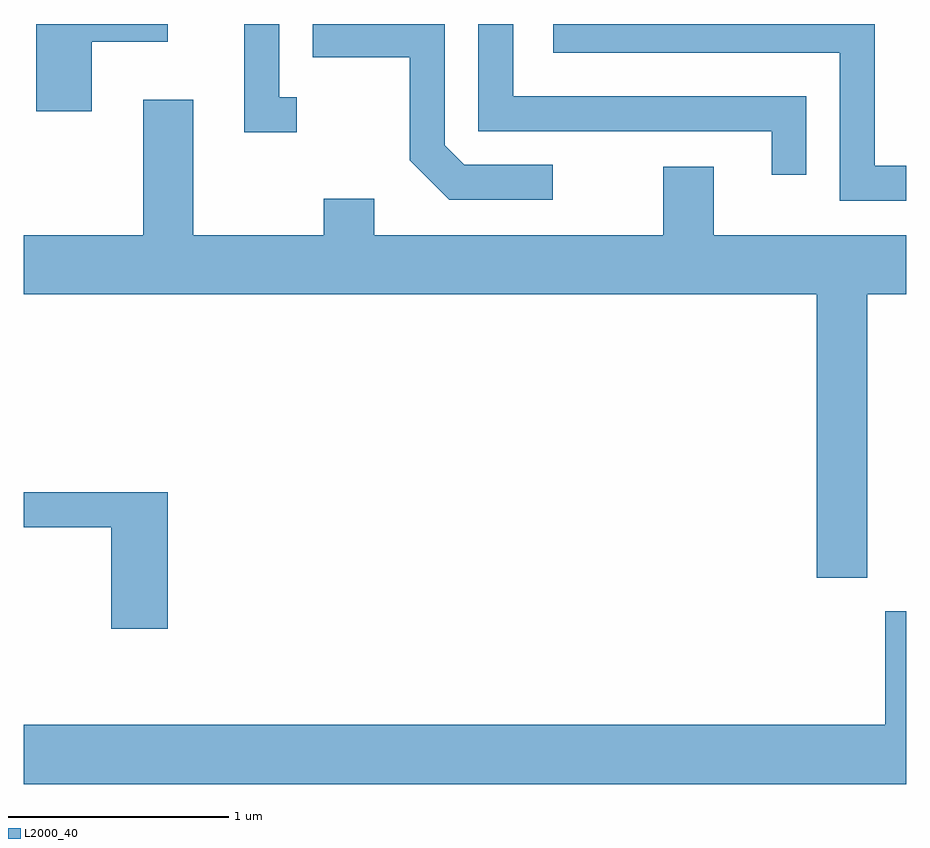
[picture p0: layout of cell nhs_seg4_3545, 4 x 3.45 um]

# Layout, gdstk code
import gdstk
lib = gdstk.Library(unit=1e-6, precision=1e-09)
def P(c, l, *ps):  # polygons
    for p in ps: c.add(gdstk.Polygon(p, *l))
L2000_40 = (2000, 40)

nhs_seg4_3545 = lib.new_cell('nhs_seg4_3545')
P(nhs_seg4_3545, L2000_40, [(293.611,1275.339),(293.469,1275.339),(293.469,1275.982),(292.011,1275.982),(292.011,1275.851),(293.311,1275.851),(293.311,1275.181),(293.611,1275.181)],
  [(293.159,1275.654),(291.829,1275.654),(291.829,1275.982),(291.671,1275.982),(291.671,1275.496),(293.001,1275.496),(293.001,1275.298),(293.159,1275.298)],
  [(292.008,1275.344),(291.607,1275.344),(291.519,1275.432),(291.519,1275.982),(290.921,1275.982),(290.921,1275.831),(291.361,1275.831),(291.361,1275.364),(291.539,1275.186),(292.008,1275.186)],
  [(290.848,1275.649),(290.769,1275.649),(290.769,1275.982),(290.611,1275.982),(290.611,1275.491),(290.848,1275.491)],
  [(289.919,1275.901),(290.264,1275.901),(290.264,1275.982),(289.666,1275.982),(289.666,1275.586),(289.919,1275.586)],
  [(293.434,1274.756),(293.611,1274.756),(293.611,1275.024),(292.739,1275.024),(292.739,1275.334),(292.511,1275.334),(292.511,1275.024),(291.199,1275.024),(291.199,1275.189),(290.971,1275.189),(290.971,1275.024),(290.379,1275.024),(290.379,1275.639),(290.151,1275.639),(290.151,1275.024),(289.611,1275.024),(289.611,1274.756),(293.206,1274.756),(293.206,1273.471),(293.434,1273.471)],
  [(290.264,1273.859),(289.611,1273.859),(289.611,1273.701),(290.006,1273.701),(290.006,1273.241),(290.264,1273.241)],
  [(293.611,1273.319),(293.516,1273.319),(293.516,1272.804),(289.611,1272.804),(289.611,1272.536),(293.611,1272.536)])

lib.write_gds('nhs_seg4_3545.gds')
